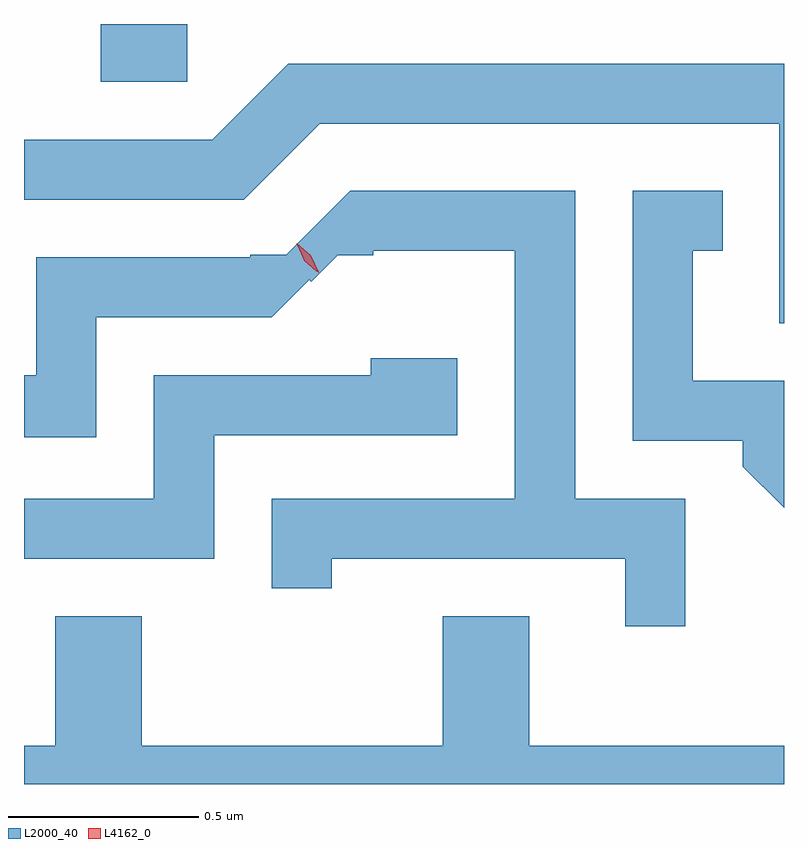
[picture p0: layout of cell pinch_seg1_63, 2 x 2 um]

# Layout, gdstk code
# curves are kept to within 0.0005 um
import gdstk
lib = gdstk.Library(unit=1e-6, precision=1e-09)
def R(c, l, rs):  # rectangles x0, y0, x1, y1
    for r in rs: c.add(gdstk.rectangle(r[:2], r[2:], *l))
def P(c, l, *ps):  # polygons
    for p in ps: c.add(gdstk.Polygon(p, *l))
L2000_40 = (2000, 40)
L4162_0 = (4162, 0)

pinch_seg1_63 = lib.new_cell('pinch_seg1_63')
R(pinch_seg1_63, L2000_40, [(1412.711,850.531,1412.939,850.683)])
P(pinch_seg1_63, L2000_40, [(1414.509,850.579),(1413.204,850.579),(1413.004,850.379),(1412.509,850.379),(1412.509,850.221),(1413.087,850.221),(1413.287,850.421),(1414.496,850.421),(1414.496,849.896),(1414.509,849.896)],
  [(1414.249,849.434),(1413.959,849.434),(1413.959,850.244),(1413.367,850.244),(1413.199,850.076),(1413.105,850.076),(1413.105,850.069),(1412.541,850.069),(1412.541,849.759),(1412.509,849.759),(1412.509,849.596),(1412.699,849.596),(1412.699,849.911),(1413.161,849.911),(1413.26,850.01),(1413.265,850.005),(1413.335,850.074),(1413.428,850.074),(1413.428,850.086),(1413.801,850.086),(1413.801,849.434),(1413.161,849.434),(1413.161,849.198),(1413.319,849.198),(1413.319,849.276),(1414.091,849.276),(1414.091,849.098),(1414.249,849.098)],
  [(1414.509,849.744),(1414.269,849.744),(1414.269,850.086),(1414.348,850.086),(1414.348,850.244),(1414.111,850.244),(1414.111,849.586),(1414.401,849.586),(1414.401,849.518),(1414.509,849.41)],
  [(1413.009,849.601),(1413.649,849.601),(1413.649,849.804),(1413.421,849.804),(1413.421,849.759),(1412.851,849.759),(1412.851,849.434),(1412.509,849.434),(1412.509,849.276),(1413.009,849.276)],
  [(1414.509,848.784),(1413.839,848.784),(1413.839,849.124),(1413.611,849.124),(1413.611,848.784),(1412.819,848.784),(1412.819,849.124),(1412.591,849.124),(1412.591,848.784),(1412.509,848.784),(1412.509,848.683),(1414.509,848.683)])
P(pinch_seg1_63, L4162_0, [(1413.278,850.032),(1413.246,850.06),(1413.229,850.1),(1413.229,850.101),(1413.229,850.101),(1413.262,850.072),(1413.279,850.032),(1413.279,850.032)],
  [(1413.284,850.029),(1413.248,850.061),(1413.227,850.105),(1413.227,850.106),(1413.227,850.106),(1413.264,850.074),(1413.285,850.03),(1413.285,850.029)])

lib.write_gds('pinch_seg1_63.gds')
